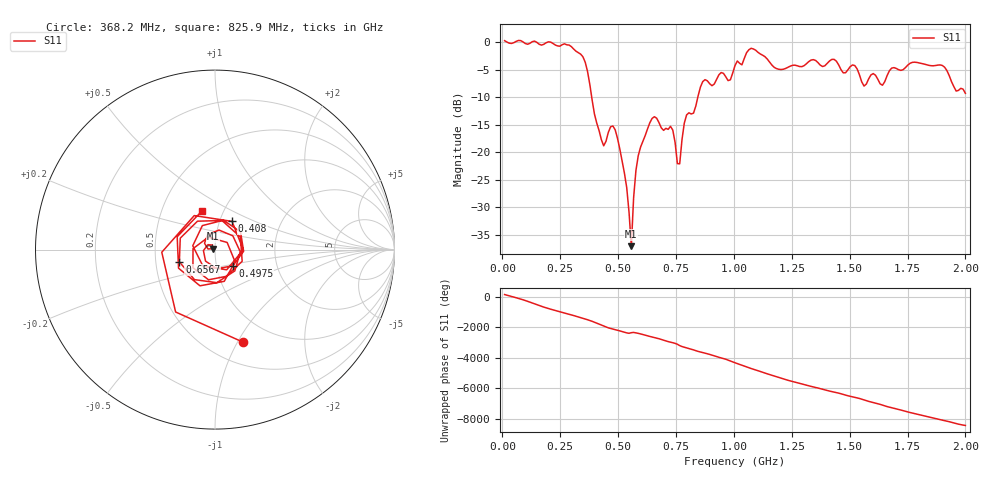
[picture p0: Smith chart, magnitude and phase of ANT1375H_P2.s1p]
!Created with skrf (http://scikit-rf.org).
# Hz S RI R 50.0
!freq ReS11 ImS11
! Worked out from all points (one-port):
!   201 points, 10 MHz to 2 GHz, reference 50 ohm
!   lowest |S11| = -37.0 dB at 557.2 MHz (marker M1), VSWR 1.03, Z = 48.7 + j0.52 ohm
!   |S11| at or under -10 dB: 386.2 MHz to 844.4 MHz (458.2 MHz wide, 74.5 % of centre)
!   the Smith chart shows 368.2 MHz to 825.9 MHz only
!   S11 on the Smith chart (normalised r, x): 368.2 MHz: 0.73, -1.06; 408 MHz: 1.15, +0.37; 497.6 MHz: 1.20, -0.22; 656.8 MHz: 0.66, -0.09; 825.9 MHz: 0.79, +0.36
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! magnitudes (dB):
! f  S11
! 10 MHz  0.3
! 258.8 MHz  -0.5
! 368.2 MHz  -5.3
! 408 MHz  -14.7
! 437.9 MHz  -18.8
! 467.7 MHz  -15.4
! 497.6 MHz  -17.5
! 507.5 MHz  -19.4
! 537.4 MHz  -26.4
! 557.2 MHz  -37.0
! 567.2 MHz  -28.2
! 587.1 MHz  -20.6
! 656.8 MHz  -13.6
! 736.4 MHz  -16.0
! 756.2 MHz  -22.1
! 766.2 MHz  -22.1
! 796 MHz  -13.2
! 825.9 MHz  -12.9
! 865.7 MHz  -7.2
! 985.1 MHz  -6.8
! 1.005 GHz  -4.3
! 1.075 GHz  -1.1
! 1.254 GHz  -4.2
! 1.502 GHz  -4.5
! 1.562 GHz  -8.0
! 1.751 GHz  -4.2
! 1.901 GHz  -4.2
! 2 GHz  -9.3
